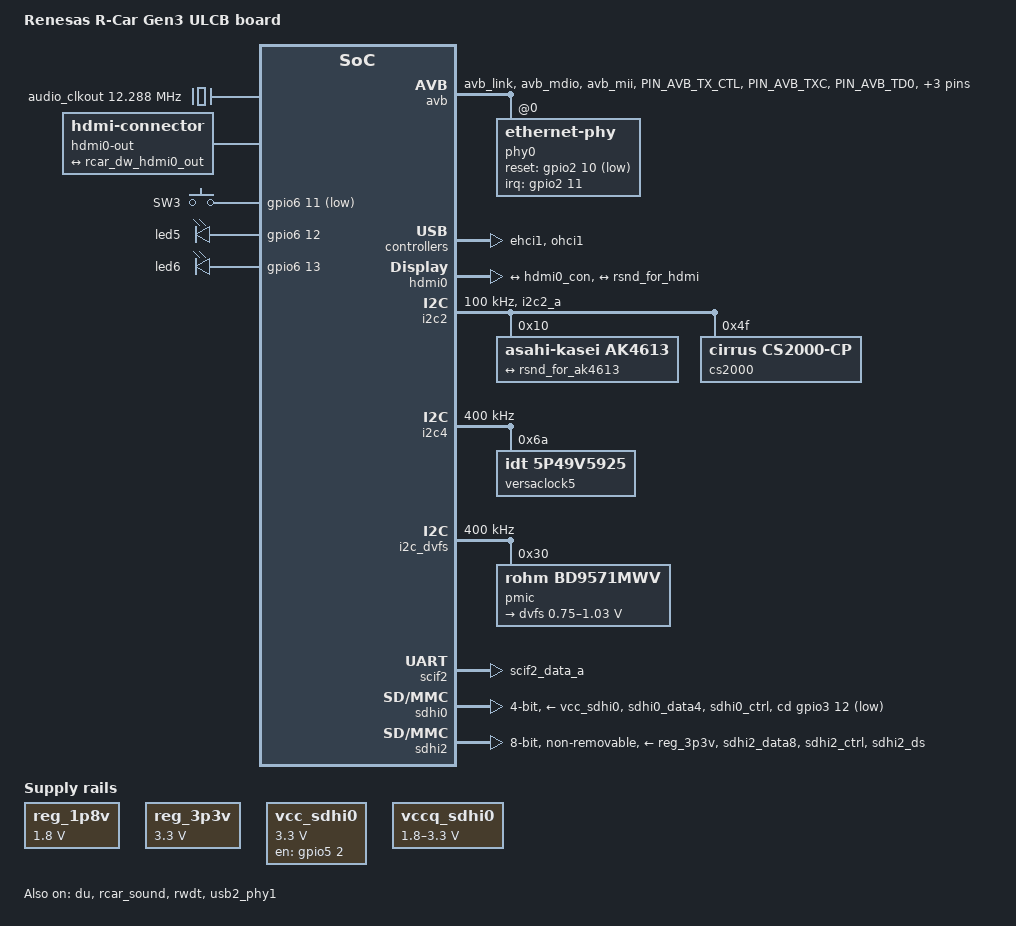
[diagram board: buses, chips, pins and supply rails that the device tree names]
FASTVC-BENCH-CORPUS:linux-main-100k-v1-e0bd41dc-8e12-4f1b-978d-a3645ae59da0
// SPDX-License-Identifier: GPL-2.0
/*
 * Device Tree Source for the R-Car Gen3 ULCB board
 *
 * Copyright (C) 2016 Renesas Electronics Corp.
 * Copyright (C) 2016 Cogent Embedded, Inc.
 */

/* bench 242.2.0 6e333884c4c8 */
/* bench 242.2.1 094951a9fb5b */
/* bench 242.2.2 6d143fbbd57a */
/* bench 242.2.3 b2abc69ae61b */
/* bench 242.2.4 0529d4e60bf9 */
 *	aplay   -D plughw:0,0 xxx.wav
 *	arecord -D plughw:0,0 xxx.wav
 * SSI-HDMI
 *	aplay   -D plughw:0,1 xxx.wav
 */

#include <dt-bindings/gpio/gpio.h>
#include <dt-bindings/input/input.h>

/ {
	model = "Renesas R-Car Gen3 ULCB board";

	aliases {
		serial0 = &scif2;
		ethernet0 = &avb;
	};

	chosen {
		bootargs = "ignore_loglevel rw root=/dev/nfs ip=on";
		stdout-path = "serial0:115200n8";
	};

	audio_clkout: audio-clkout {
		/*
		 * This is same as <&rcar_sound 0>
		 * but needed to avoid cs2000/rcar_sound probe dead-lock
		 */
		compatible = "fixed-clock";
		#clock-cells = <0>;
		clock-frequency = <12288000>;
	};

	hdmi0-out {
		compatible = "hdmi-connector";
		type = "a";

		port {
			hdmi0_con: endpoint {
			};
		};
	};

	keyboard {
		compatible = "gpio-keys";

		key-1 {
			linux,code = <KEY_1>;
			label = "SW3";
			wakeup-source;
			debounce-interval = <20>;
			gpios = <&gpio6 11 GPIO_ACTIVE_LOW>;
		};
	};

	leds {
		compatible = "gpio-leds";

		led5 {
			gpios = <&gpio6 12 GPIO_ACTIVE_HIGH>;
		};
		led6 {
			gpios = <&gpio6 13 GPIO_ACTIVE_HIGH>;
		};
	};

	reg_1p8v: regulator0 {
		compatible = "regulator-fixed";
		regulator-name = "fixed-1.8V";
		regulator-min-microvolt = <1800000>;
		regulator-max-microvolt = <1800000>;
		regulator-boot-on;
		regulator-always-on;
	};

	reg_3p3v: regulator1 {
		compatible = "regulator-fixed";
		regulator-name = "fixed-3.3V";
		regulator-min-microvolt = <3300000>;
		regulator-max-microvolt = <3300000>;
		regulator-boot-on;
		regulator-always-on;
	};

	sound_card: sound {
		compatible = "audio-graph-card";
		label = "rcar-sound";

		dais = <&rsnd_port0	/* ak4613 */
			&rsnd_port1	/* HDMI0  */
			>;
	};

	vcc_sdhi0: regulator-vcc-sdhi0 {
		compatible = "regulator-fixed";

		regulator-name = "SDHI0 Vcc";
		regulator-min-microvolt = <3300000>;
		regulator-max-microvolt = <3300000>;

		gpio = <&gpio5 2 GPIO_ACTIVE_HIGH>;
		enable-active-high;
	};

	vccq_sdhi0: regulator-vccq-sdhi0 {
		compatible = "regulator-gpio";

		regulator-name = "SDHI0 VccQ";
		regulator-min-microvolt = <1800000>;
		regulator-max-microvolt = <3300000>;

		gpios = <&gpio5 1 GPIO_ACTIVE_HIGH>;
		gpios-states = <1>;
		states = <3300000 1>, <1800000 0>;
	};

	x12_clk: x12 {
		compatible = "fixed-clock";
		#clock-cells = <0>;
		clock-frequency = <24576000>;
	};

	x23_clk: x23-clock {
		compatible = "fixed-clock";
		#clock-cells = <0>;
		clock-frequency = <25000000>;
	};
};

&audio_clk_a {
	clock-frequency = <22579200>;
};

&avb {
	pinctrl-0 = <&avb_pins>;
	pinctrl-names = "default";
	phy-handle = <&phy0>;
	tx-internal-delay-ps = <2000>;
	status = "okay";

	phy0: ethernet-phy@0 {
		rxc-skew-ps = <1500>;
		reg = <0>;
		interrupt-parent = <&gpio2>;
		interrupts = <11 IRQ_TYPE_LEVEL_LOW>;
		reset-gpios = <&gpio2 10 GPIO_ACTIVE_LOW>;
	};
};

&du {
	status = "okay";
};

&ehci1 {
	status = "okay";
};

&extal_clk {
	clock-frequency = <16666666>;
};

&extalr_clk {
	clock-frequency = <32768>;
};

&hdmi0 {
	status = "okay";

	ports {
		port@1 {
			reg = <1>;
			rcar_dw_hdmi0_out: endpoint {
				remote-endpoint = <&hdmi0_con>;
			};
		};
		port@2 {
			reg = <2>;
			dw_hdmi0_snd_in: endpoint {
				remote-endpoint = <&rsnd_for_hdmi>;
			};
		};
	};
};

&hdmi0_con {
	remote-endpoint = <&rcar_dw_hdmi0_out>;
};

&i2c2 {
	pinctrl-0 = <&i2c2_pins>;
	pinctrl-names = "default";

	status = "okay";

	clock-frequency = <100000>;

	ak4613: codec@10 {
		compatible = "asahi-kasei,ak4613";
		#sound-dai-cells = <0>;
		reg = <0x10>;
		clocks = <&rcar_sound 3>;

		asahi-kasei,in1-single-end;
		asahi-kasei,in2-single-end;
		asahi-kasei,out1-single-end;
		asahi-kasei,out2-single-end;
		asahi-kasei,out3-single-end;
		asahi-kasei,out4-single-end;
		asahi-kasei,out5-single-end;
		asahi-kasei,out6-single-end;

		port {
			ak4613_endpoint: endpoint {
				remote-endpoint = <&rsnd_for_ak4613>;
			};
		};
	};

	cs2000: clk-multiplier@4f {
		#clock-cells = <0>;
		compatible = "cirrus,cs2000-cp";
		reg = <0x4f>;
		clocks = <&audio_clkout>, <&x12_clk>;
		clock-names = "clk_in", "ref_clk";

		assigned-clocks = <&cs2000>;
		assigned-clock-rates = <24576000>; /* 1/1 divide */
	};
};

&i2c4 {
	status = "okay";

	clock-frequency = <400000>;

	versaclock5: clock-generator@6a {
		compatible = "idt,5p49v5925";
		reg = <0x6a>;
		#clock-cells = <1>;
		clocks = <&x23_clk>;
		clock-names = "xin";
	};
};

&i2c_dvfs {
	status = "okay";

	clock-frequency = <400000>;

	pmic: pmic@30 {
		pinctrl-0 = <&irq0_pins>;
		pinctrl-names = "default";

		compatible = "rohm,bd9571mwv";
		reg = <0x30>;
		interrupt-parent = <&intc_ex>;
		interrupts = <0 IRQ_TYPE_LEVEL_LOW>;
		interrupt-controller;
		#interrupt-cells = <2>;
		gpio-controller;
		#gpio-cells = <2>;
		rohm,ddr-backup-power = <0xf>;
		rohm,rstbmode-pulse;

		regulators {
			dvfs: dvfs {
				regulator-name = "dvfs";
				regulator-min-microvolt = <750000>;
				regulator-max-microvolt = <1030000>;
				regulator-boot-on;
				regulator-always-on;
			};
		};
	};
};

&ohci1 {
	status = "okay";
};

&pfc {
	pinctrl-0 = <&scif_clk_pins>;
	pinctrl-names = "default";

	avb_pins: avb {
		mux {
			groups = "avb_link", "avb_mdio", "avb_mii";
			function = "avb";
		};

		pins_mdio {
			groups = "avb_mdio";
			drive-strength = <24>;
		};

		pins_mii_tx {
			pins = "PIN_AVB_TX_CTL", "PIN_AVB_TXC", "PIN_AVB_TD0",
			       "PIN_AVB_TD1", "PIN_AVB_TD2", "PIN_AVB_TD3";
			drive-strength = <12>;
		};
	};

	i2c2_pins: i2c2 {
		groups = "i2c2_a";
		function = "i2c2";
	};

	irq0_pins: irq0 {
		groups = "intc_ex_irq0";
		function = "intc_ex";
	};

	scif2_pins: scif2 {
		groups = "scif2_data_a";
		function = "scif2";
	};

	scif_clk_pins: scif_clk {
		groups = "scif_clk_a";
		function = "scif_clk";
	};

	sdhi0_pins: sd0 {
		groups = "sdhi0_data4", "sdhi0_ctrl";
		function = "sdhi0";
		power-source = <3300>;
	};

	sdhi0_pins_uhs: sd0_uhs {
		groups = "sdhi0_data4", "sdhi0_ctrl";
		function = "sdhi0";
		power-source = <1800>;
	};

	sdhi2_pins: sd2 {
		groups = "sdhi2_data8", "sdhi2_ctrl", "sdhi2_ds";
/* bench 22007.3.0 89a17ae89236 */
/* bench 22007.3.1 654348bae28f */
/* bench 22007.3.2 79399c62ea2a */
/* bench 22007.3.3 0bf3db1c26a7 */
/* bench 22007.3.4 21270b6b040c */
/* bench 22007.3.5 b9f061135eff */
/* bench 22007.3.6 7bf5c1518a8c */
		function = "sdhi2";
		power-source = <1800>;
	};

	sound_pins: sound {
		groups = "ssi01239_ctrl", "ssi0_data", "ssi1_data_a";
		function = "ssi";
	};

	sound_clk_pins: sound-clk {
		groups = "audio_clk_a_a", "audio_clk_b_a", "audio_clk_c_a",
			 "audio_clkout_a", "audio_clkout3_a";
		function = "audio_clk";
	};

	usb1_pins: usb1 {
		groups = "usb1";
		function = "usb1";
	};
};

&rcar_sound {
	pinctrl-0 = <&sound_pins &sound_clk_pins>;
	pinctrl-names = "default";

	/* Single DAI */
	#sound-dai-cells = <0>;

	/* audio_clkout0/1/2/3 */
	#clock-cells = <1>;
	clock-frequency = <12288000 11289600>;

	status = "okay";

	/* update <audio_clk_b> to <cs2000> */
	clocks = <&cpg CPG_MOD 1005>,
		 <&cpg CPG_MOD 1006>, <&cpg CPG_MOD 1007>,
		 <&cpg CPG_MOD 1008>, <&cpg CPG_MOD 1009>,
		 <&cpg CPG_MOD 1010>, <&cpg CPG_MOD 1011>,
		 <&cpg CPG_MOD 1012>, <&cpg CPG_MOD 1013>,
		 <&cpg CPG_MOD 1014>, <&cpg CPG_MOD 1015>,
		 <&cpg CPG_MOD 1022>, <&cpg CPG_MOD 1023>,
		 <&cpg CPG_MOD 1024>, <&cpg CPG_MOD 1025>,
		 <&cpg CPG_MOD 1026>, <&cpg CPG_MOD 1027>,
		 <&cpg CPG_MOD 1028>, <&cpg CPG_MOD 1029>,
		 <&cpg CPG_MOD 1030>, <&cpg CPG_MOD 1031>,
		 <&cpg CPG_MOD 1020>, <&cpg CPG_MOD 1021>,
		 <&cpg CPG_MOD 1020>, <&cpg CPG_MOD 1021>,
		 <&cpg CPG_MOD 1019>, <&cpg CPG_MOD 1018>,
		 <&audio_clk_a>, <&cs2000>,
		 <&audio_clk_c>,
		 <&cpg CPG_CORE CPG_AUDIO_CLK_I>;

	ports {
		#address-cells = <1>;
		#size-cells = <0>;
		rsnd_port0: port@0 {
			reg = <0>;
			rsnd_for_ak4613: endpoint {
				remote-endpoint = <&ak4613_endpoint>;

				dai-format = "left_j";
				bitclock-master = <&rsnd_for_ak4613>;
				frame-master = <&rsnd_for_ak4613>;

				playback = <&ssi0 &src0 &dvc0>;
				capture  = <&ssi1 &src1 &dvc1>;
			};
		};
		rsnd_port1: port@1 {
			reg = <1>;
			rsnd_for_hdmi: endpoint {
				remote-endpoint = <&dw_hdmi0_snd_in>;

				dai-format = "i2s";
				bitclock-master = <&rsnd_for_hdmi>;
				frame-master = <&rsnd_for_hdmi>;

				playback = <&ssi2>;
			};
		};
	};
};

&rwdt {
	timeout-sec = <60>;
	status = "okay";
};

&scif2 {
	pinctrl-0 = <&scif2_pins>;
	pinctrl-names = "default";

	status = "okay";
};

&scif_clk {
	clock-frequency = <14745600>;
};

&sdhi0 {
	pinctrl-0 = <&sdhi0_pins>;
	pinctrl-1 = <&sdhi0_pins_uhs>;
	pinctrl-names = "default", "state_uhs";

/* bench 8223.4.0 2b4e96c04c0f */
/* bench 8223.4.1 b3afacf174fc */
/* bench 8223.4.2 04280065315b */
/* bench 8223.4.3 d7c094ffc974 */
/* bench 8223.4.4 718d7530c88f */
/* bench 8223.4.5 205720cabb2d */
/* bench 8223.4.6 cd1cbadb1af5 */
/* bench 8223.4.7 0a54cc82fe08 */
	vmmc-supply = <&vcc_sdhi0>;
	vqmmc-supply = <&vccq_sdhi0>;
	cd-gpios = <&gpio3 12 GPIO_ACTIVE_LOW>;
	bus-width = <4>;
	sd-uhs-sdr50;
	sd-uhs-sdr104;
	status = "okay";
};

&sdhi2 {
	/* used for on-board 8bit eMMC */
	pinctrl-0 = <&sdhi2_pins>;
	pinctrl-1 = <&sdhi2_pins>;
	pinctrl-names = "default", "state_uhs";

	vmmc-supply = <&reg_3p3v>;
	vqmmc-supply = <&reg_1p8v>;
	bus-width = <8>;
	mmc-hs200-1_8v;
	mmc-hs400-1_8v;
/* bench 24135.0.0 2c3dbd44465e */
/* bench 24135.0.1 a15b80fd36bd */
/* bench 24135.0.2 670390ae1bcf */
/* bench 24135.0.3 4500b4a4d3ee */
/* bench 24135.0.4 ea0849bf1d7a */
/* bench 24135.0.5 fd89607bc50c */
/* bench 24135.0.6 15aa0fe9b7ea */
/* bench 24135.0.7 7768ffe942e3 */
/* bench 24135.0.8 4d028fb13a3d */
/* bench 24135.0.9 437b18456f43 */
/* bench 24135.0.10 42d34846054f */
/* bench 24135.0.11 bb43fd973103 */
/* bench 24135.0.12 37ac29dd8c09 */
	non-removable;
	full-pwr-cycle-in-suspend;
	status = "okay";
};

&ssi1 {
	shared-pin;
};

&usb2_phy1 {
	pinctrl-0 = <&usb1_pins>;
	pinctrl-names = "default";

	status = "okay";
};
